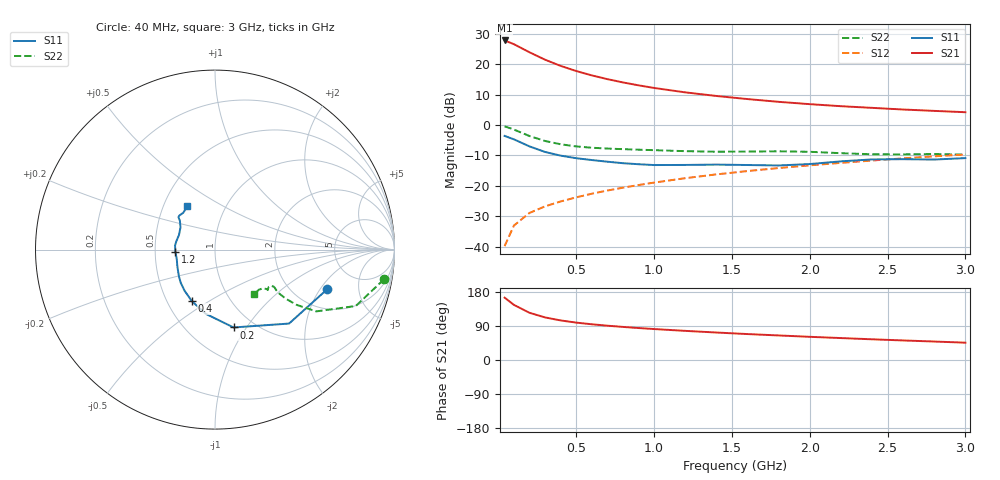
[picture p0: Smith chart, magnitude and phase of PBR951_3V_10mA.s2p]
! Filename:  PBR951E.S2P  Version:  3.0
! Philips part #:  PBR951  Date: July 1998
! Bias condition:  Vce=3V, Ic=10mA
#  MHz  S  MA  R 50
! Freq  S11  S21  S12  S22
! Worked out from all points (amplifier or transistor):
!   21 points, 40 MHz to 3 GHz, reference 50 ohm
!   highest |S21| = 27.9 dB at 40 MHz (marker M1)
!   |S21| within 3 dB of that: start of sweep to 166.3 MHz
!   unconditionally stable (mu >= 1): 872.7 MHz to 2.305 GHz
!   at 300 MHz: K = 0.70, MSG = 24.1 dB, |S12| = -26.8 dB
!   at 1 GHz: K = 1.02, MAG = 14.7 dB, |S12| = -18.9 dB
!   at 3 GHz: K = 0.96, MSG = 7.0 dB, |S12| = -9.7 dB
!   S11 on the Smith chart (normalised r, x): 40 MHz: 2.98, -2.34; 200 MHz: 0.81, -0.87; 400 MHz: 0.66, -0.42; 1.2 GHz: 0.64, -0.01; 3 GHz: 0.66, +0.35
40  0.664 -19.3  24.8 164.5  0.01015 82.2  0.9553 -10.0
100  0.5833 -44.9  21.51 145.4  0.02222 71.7  0.845 -21.8
200  0.4461 -76.6  15.83 124.5  0.03583 65.4  0.6609 -31.4
300  0.3613 -98.3  11.94 112.3  0.04596 65.0  0.5477 -34.1
400  0.3144 -114.3  9.454 104.4  0.05531 66.2  0.4836 -34.7
500  0.2852 -126.4  7.775 98.7  0.06462 67.6  0.4461 -34.5
600  0.2661 -135.8  6.594 94.3  0.07416 69.1  0.4243 -34.1
700  0.2499 -143.6  5.722 90.5  0.08368 70.3  0.4112 -33.6
800  0.236 -151.2  5.049 87.3  0.09319 71.4  0.4019 -33.0
900  0.227 -158.1  4.523 84.4  0.1031 72.1  0.3941 -32.5
1000  0.22 -165.1  4.094 81.7  0.1131 72.5  0.3868 -32.2
1200  0.2209 -177.2  3.464 76.9  0.1336 73.0  0.3726 -32.8
1400  0.2238 174.2  3.021 72.5  0.1544 73.0  0.3647 -34.8
1600  0.2203 167.4  2.686 68.4  0.1752 72.9  0.3668 -36.8
1800  0.2165 158.2  2.419 64.8  0.1965 72.7  0.3707 -37.5
2000  0.2285 147.3  2.215 61.2  0.2175 72.1  0.3636 -37.4
2200  0.253 140.6  2.05 57.9  0.2391 71.2  0.3451 -38.5
2400  0.2724 138.4  1.925 54.6  0.2611 70.4  0.331 -42.4
2600  0.2748 136.6  1.807 51.6  0.2836 69.6  0.3299 -47.1
2800  0.2711 130.6  1.715 48.7  0.3064 68.3  0.3342 -49.3
3000  0.2862 122.6  1.631 45.7  0.3285 67.2  0.3263 -48.9
